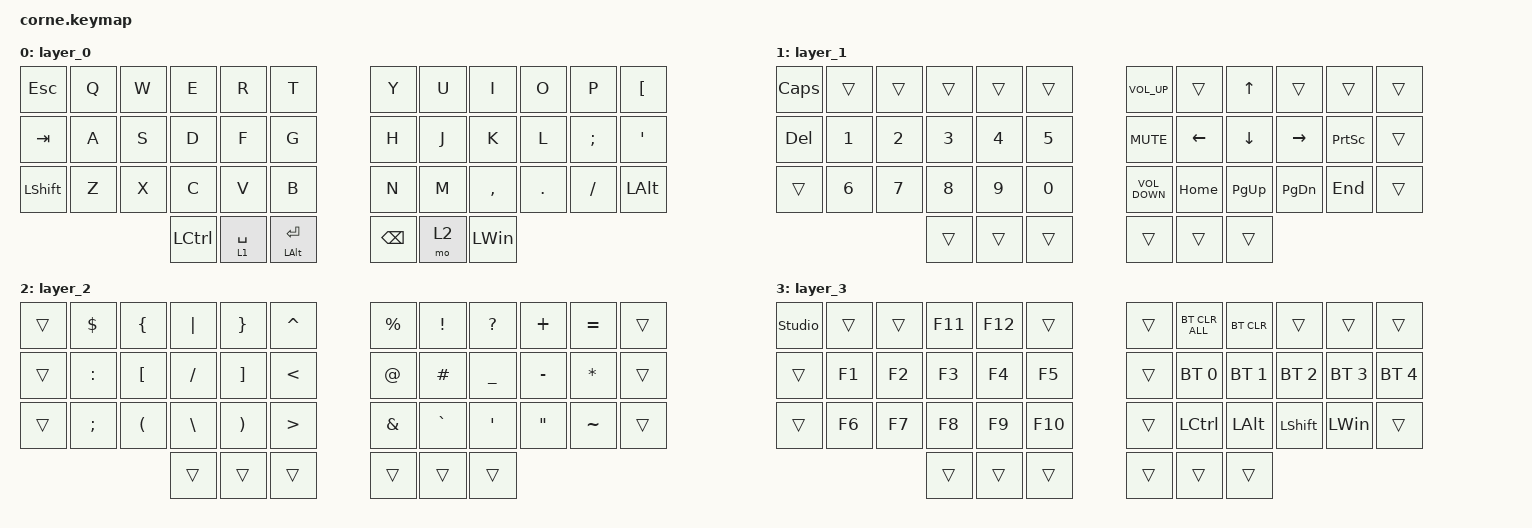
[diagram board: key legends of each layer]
#include <behaviors.dtsi>
#include <dt-bindings/zmk/bt.h>
#include <dt-bindings/zmk/keys.h>

/ {
    keymap {
        compatible = "zmk,keymap";

        layer_0 {
            bindings = <
&kp ESC         &kp Q  &kp W  &kp E      &kp R        &kp T                 &kp Y          &kp U  &kp I         &kp O    &kp P      &kp LBKT
&kp TAB         &kp A  &kp S  &kp D      &kp F        &kp G                 &kp H          &kp J  &kp K         &kp L    &kp SEMI   &kp SQT
&kp LEFT_SHIFT  &kp Z  &kp X  &kp C      &kp V        &kp B                 &kp N          &kp M  &kp COMMA     &kp DOT  &kp SLASH  &kp LALT
                              &kp LCTRL  &lt 1 SPACE  &mt LEFT_ALT ENTER    &kp BACKSPACE  &mo 2  &kp LEFT_WIN
            >;
        };

        layer_1 {
            bindings = <
&kp CAPSLOCK  &trans  &trans  &trans  &trans  &trans    &kp C_VOLUME_UP    &trans    &kp UP       &trans         &trans           &trans
&kp DEL       &kp N1  &kp N2  &kp N3  &kp N4  &kp N5    &kp K_MUTE         &kp LEFT  &kp DOWN     &kp RIGHT      &kp PRINTSCREEN  &trans
&trans        &kp N6  &kp N7  &kp N8  &kp N9  &kp N0    &kp C_VOLUME_DOWN  &kp HOME  &kp PAGE_UP  &kp PAGE_DOWN  &kp END          &trans
                              &trans  &trans  &trans    &trans             &trans    &trans
            >;
        };

        layer_2 {
            bindings = <
&trans  &kp DOLLAR     &kp LEFT_BRACE        &kp PIPE       &kp RIGHT_BRACE        &kp CARET           &kp PERCENT    &kp EXCLAMATION  &kp QUESTION      &kp PLUS           &kp EQUAL     &trans
&trans  &kp COLON      &kp LEFT_BRACKET      &kp SLASH      &kp RIGHT_BRACKET      &kp LESS_THAN       &kp AT_SIGN    &kp HASH         &kp UNDERSCORE    &kp MINUS          &kp ASTERISK  &trans
&trans  &kp SEMICOLON  &kp LEFT_PARENTHESIS  &kp BACKSLASH  &kp RIGHT_PARENTHESIS  &kp GREATER_THAN    &kp AMPERSAND  &kp GRAVE        &kp SINGLE_QUOTE  &kp DOUBLE_QUOTES  &kp TILDE     &trans
                                             &trans         &trans                 &trans              &trans         &trans           &trans
            >;
        };

        layer_3 {
            bindings = <
&studio_unlock  &trans  &trans  &kp F11  &kp F12  &trans     &trans  &bt BT_CLR_ALL  &bt BT_CLR    &trans          &trans        &trans
&trans          &kp F1  &kp F2  &kp F3   &kp F4   &kp F5     &trans  &bt BT_SEL 0    &bt BT_SEL 1  &bt BT_SEL 2    &bt BT_SEL 3  &bt BT_SEL 4
&trans          &kp F6  &kp F7  &kp F8   &kp F9   &kp F10    &trans  &kp LCTRL       &kp LEFT_ALT  &kp LEFT_SHIFT  &kp LEFT_WIN  &trans
                                &trans   &trans   &trans     &trans  &trans          &trans
            >;
        };
    };

    conditional_layers {
        compatible = "zmk,conditional-layers";

        layer_3 {
            if-layers = <1 2>;
            then-layer = <3>;
        };
    };
};
